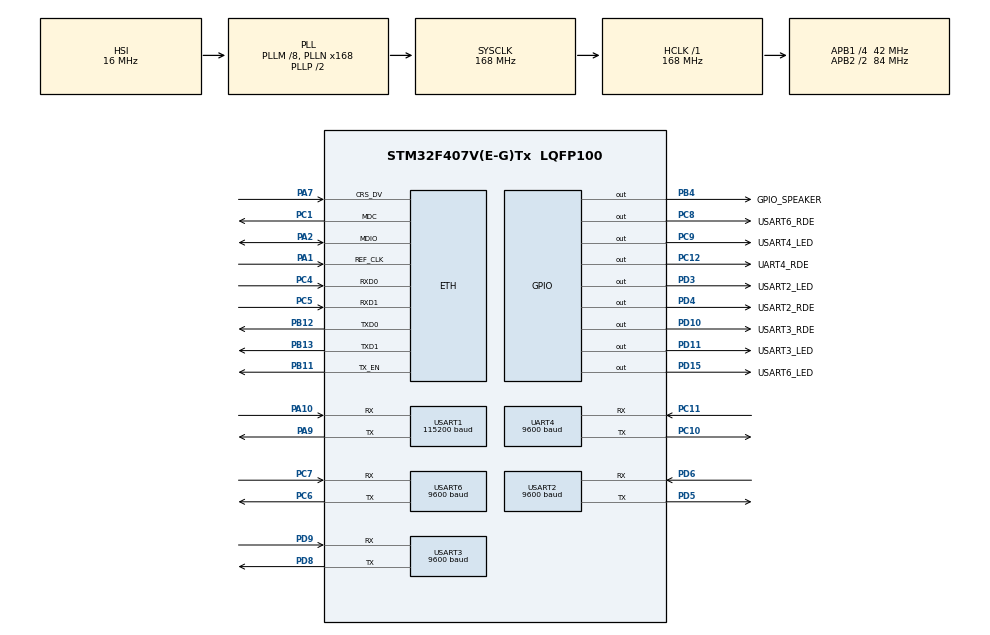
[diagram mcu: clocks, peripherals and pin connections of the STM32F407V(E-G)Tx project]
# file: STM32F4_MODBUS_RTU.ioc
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ETH.ChecksumMode=ETH_CHECKSUM_BY_HARDWARE
ETH.MACAddr=00\:80\:E1\:00\:00\:00
ETH.MediaInterface=ETH_MEDIA_INTERFACE_RMII
ETH.PHY_Name_RMII=userPHY
FREERTOS.Tasks01=defaultTask,0,128,StartDefaultTask,Default,NULL,Dynamic,NULL,NULL;appMdTask,0,128,StartMdTask,Default,NULL,Dynamic,NULL,NULL;appNetworkTask,-3,128,StartTask03,Default,NULL,Dynamic,NULL,NULL
FREERTOS.Timers01=myTimer01,Callback01,osTimerPeriodic,Default,NULL,Dynamic,NULL
FREERTOS.configCHECK_FOR_STACK_OVERFLOW=0
FREERTOS.configMAX_PRIORITIES=7
FREERTOS.configUSE_IDLE_HOOK=0
FREERTOS.configUSE_MALLOC_FAILED_HOOK=0
FREERTOS.configUSE_TICK_HOOK=0
FREERTOS.configUSE_TIMERS=1
LWIP.GATEWAY_ADDRESS=192.168.001.001
LWIP.IP_ADDRESS=192.168.001.020
LWIP.LWIP_DHCP=0
LWIP.NETMASK_ADDRESS=255.255.255.000
LWIP.Version=v2.0.3_Cube
Mcu.Family=STM32F4
Mcu.Name=STM32F407V(E-G)Tx
Mcu.Package=LQFP100
Mcu.UserConstants=userPHY,0x01
NVIC.ETH_IRQn=true\:5\:0\:false\:false\:true\:true\:false\:true
NVIC.PriorityGroup=NVIC_PRIORITYGROUP_4
NVIC.TIM1_UP_TIM10_IRQn=true\:0\:0\:false\:false\:true\:false\:false\:true
NVIC.TIM7_IRQn=true\:5\:0\:true\:false\:true\:true\:true\:true
NVIC.TimeBase=TIM1_UP_TIM10_IRQn
NVIC.TimeBaseIP=TIM1
NVIC.UART4_IRQn=true\:5\:0\:false\:false\:true\:true\:true\:true
NVIC.USART2_IRQn=true\:5\:0\:false\:false\:true\:true\:true\:true
NVIC.USART3_IRQn=true\:5\:0\:false\:false\:true\:true\:true\:true
NVIC.USART6_IRQn=true\:5\:0\:true\:false\:true\:true\:true\:true
PA1.Mode=RMII
PA1.Signal=ETH_REF_CLK
PA10.Mode=Asynchronous
PA10.Signal=USART1_RX
PA13.GPIO_Label=SWDIO
PA13.Mode=Serial_Wire
PA13.Signal=SYS_JTMS-SWDIO
PA14.GPIO_Label=SWCLK
PA14.Mode=Serial_Wire
PA14.Signal=SYS_JTCK-SWCLK
PA2.Mode=RMII
PA2.Signal=ETH_MDIO
PA7.Mode=RMII
PA7.Signal=ETH_CRS_DV
PA9.Mode=Asynchronous
PA9.Signal=USART1_TX
PB11.Mode=RMII
PB11.Signal=ETH_TX_EN
PB12.Mode=RMII
PB12.Signal=ETH_TXD0
PB13.Mode=RMII
PB13.Signal=ETH_TXD1
PB3.GPIO_Label=SWO
PB3.Signal=SYS_JTDO-SWO
PB4.GPIO_Label=GPIO_SPEAKER
PB4.Signal=GPIO_Output
PC1.Mode=RMII
PC1.Signal=ETH_MDC
PC10.Mode=Asynchronous
PC10.Signal=UART4_TX
PC11.Mode=Asynchronous
PC11.Signal=UART4_RX
PC12.GPIO_Label=UART4_RDE
PC12.Signal=GPIO_Output
PC14-OSC32_IN.GPIO_Label=PC14-OSC32_IN
PC14-OSC32_IN.Signal=RCC_OSC32_IN
PC15-OSC32_OUT.GPIO_Label=PC15-OSC32_OUT
PC15-OSC32_OUT.Signal=RCC_OSC32_OUT
PC4.Mode=RMII
PC4.Signal=ETH_RXD0
PC5.Mode=RMII
PC5.Signal=ETH_RXD1
PC6.Mode=Asynchronous
PC6.Signal=USART6_TX
PC7.Mode=Asynchronous
PC7.Signal=USART6_RX
PC8.GPIO_Label=USART6_RDE
PC8.Signal=GPIO_Output
PC9.GPIO_Label=USART4_LED
PC9.Signal=GPIO_Output
PD10.GPIO_Label=USART3_RDE
PD10.Signal=GPIO_Output
PD11.GPIO_Label=USART3_LED
PD11.Signal=GPIO_Output
PD15.GPIO_Label=USART6_LED
PD15.Signal=GPIO_Output
PD3.GPIO_Label=USART2_LED
PD3.Signal=GPIO_Output
PD4.GPIO_Label=USART2_RDE
PD4.Signal=GPIO_Output
PD5.Mode=Asynchronous
PD5.Signal=USART2_TX
PD6.Mode=Asynchronous
PD6.Signal=USART2_RX
PD8.Mode=Asynchronous
PD8.Signal=USART3_TX
PD9.Mode=Asynchronous
PD9.Signal=USART3_RX
PH0-OSC_IN.GPIO_Label=PH0-OSC_IN
PH0-OSC_IN.Mode=HSE-External-Oscillator
PH0-OSC_IN.Signal=RCC_OSC_IN
PH1-OSC_OUT.GPIO_Label=PH1-OSC_OUT
PH1-OSC_OUT.Mode=HSE-External-Oscillator
PH1-OSC_OUT.Signal=RCC_OSC_OUT
ProjectManager.HeapSize=0x200
ProjectManager.StackSize=0x400
ProjectManager.TargetToolchain=MDK-ARM V5
RCC.48MHZClocksFreq_Value=48000000
RCC.AHBFreq_Value=168000000
RCC.APB1CLKDivider=RCC_HCLK_DIV4
RCC.APB1Freq_Value=42000000
RCC.APB1TimFreq_Value=84000000
RCC.APB2CLKDivider=RCC_HCLK_DIV2
RCC.APB2Freq_Value=84000000
RCC.APB2TimFreq_Value=168000000
RCC.CortexFreq_Value=168000000
RCC.HCLKFreq_Value=168000000
RCC.HSE_VALUE=12000000
RCC.HSI_VALUE=16000000
RCC.LSE_VALUE=32768
RCC.PLLM=8
RCC.PLLN=168
RCC.PLLQ=7
RCC.SYSCLKFreq_VALUE=168000000
RCC.SYSCLKSource=RCC_SYSCLKSOURCE_PLLCLK
RCC.VCOOutputFreq_Value=336000000
TIM7.TIM_MasterOutputTrigger=TIM_TRGO_UPDATE
UART4.BaudRate=9600
UART4.VirtualMode=Asynchronous
USART1.BaudRate=115200
USART1.VirtualMode=VM_ASYNC
USART2.BaudRate=9600
USART2.VirtualMode=VM_ASYNC
USART3.BaudRate=9600
USART3.VirtualMode=VM_ASYNC
USART6.BaudRate=9600
USART6.VirtualMode=VM_ASYNC
VP_FREERTOS_VS_CMSIS_V1.Mode=CMSIS_V1
VP_LWIP_VS_Enabled.Mode=Enabled
VP_SYS_VS_tim1.Mode=TIM1
VP_TIM7_VS_ClockSourceINT.Mode=Enable_Timer
board=STM32F4DISCOVERY

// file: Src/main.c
/* USER CODE BEGIN Header */
/**
  ******************************************************************************
  * @file           : main.c
  * @brief          : Main program body
  ******************************************************************************
  * @attention
  *
  * <h2><center>&copy; Copyright (c) 2020 STMicroelectronics.
  * All rights reserved.</center></h2>
  *
  * This software component is licensed by ST under Ultimate Liberty license
  * SLA0044, the "License"; You may not use this file except in compliance with
  * the License. You may obtain a copy of the License at:
  *                             www.st.com/SLA0044
  *
  ******************************************************************************
  */
/* USER CODE END Header */

#include "main.h"
#include "cmsis_os.h"
#include "lwip.h"

/* USER CODE BEGIN Includes */
#include <stdint.h>
#include <stdio.h>
#include <string.h>
//#include "..\Middlewares\Third_Party\modbus\include\mb_m.h"
#include "mb_m.h"
#include "mbport.h"

/* USER CODE END Includes */

TIM_HandleTypeDef htim7;

UART_HandleTypeDef huart4;
UART_HandleTypeDef huart1;
UART_HandleTypeDef huart2;
UART_HandleTypeDef huart3;
UART_HandleTypeDef huart6;

osThreadId defaultTaskHandle;
osThreadId appMdTaskHandle;
osThreadId appNetworkTaskHandle;
osTimerId myTimer01Handle;
/* USER CODE BEGIN PV */
/* Private variables ---------------------------------------------------------*/

/* USER CODE END PV */

void SystemClock_Config(void);
static void MX_GPIO_Init(void);
static void MX_USART2_UART_Init(void);
static void MX_TIM7_Init(void);
static void MX_USART1_UART_Init(void);
static void MX_USART3_UART_Init(void);
static void MX_UART4_Init(void);
static void MX_USART6_UART_Init(void);
void StartDefaultTask(void const * argument);
void StartMdTask(void const * argument);
void StartTask03(void const * argument);
void Callback01(void const * argument);

/* USER CODE BEGIN PFP */
/* Private function prototypes -----------------------------------------------*/
extern void ModbusRTUTask(void const * argument);
extern void ModbusTestTask(void const * argument);
extern	void http_server_netconn_init();
/* USER CODE END PFP */

int main(void)
{

  /* MCU Configuration--------------------------------------------------------*/

  /* Reset of all peripherals, Initializes the Flash interface and the Systick. */
  HAL_Init();

  /* Configure the system clock */
  SystemClock_Config();

  /* Initialize all configured peripherals */
  MX_GPIO_Init();
  MX_USART2_UART_Init();
  MX_TIM7_Init();
  MX_USART1_UART_Init();
  MX_USART3_UART_Init();
  MX_UART4_Init();
  MX_USART6_UART_Init();
  /* USER CODE BEGIN 2 */
	for(int i =0; i <2; i++)
	{
	HAL_GPIO_TogglePin(GPIO_SPEAKER_GPIO_Port,GPIO_SPEAKER_Pin);
	HAL_Delay(10);
	}
		printf("\r\n System  starting \r\n");

  /* USER CODE END 2 */

  /* Create the timer(s) */
  /* definition and creation of myTimer01 */
  osTimerDef(myTimer01, Callback01);
  myTimer01Handle = osTimerCreate(osTimer(myTimer01), osTimerPeriodic, NULL);

  /* Create the thread(s) */
  /* definition and creation of defaultTask */
  osThreadDef(defaultTask, StartDefaultTask, osPriorityNormal, 0, 128);
  defaultTaskHandle = osThreadCreate(osThread(defaultTask), NULL);

  /* definition and creation of appMdTask */
  osThreadDef(appMdTask, StartMdTask, osPriorityNormal, 0, 128);
  appMdTaskHandle = osThreadCreate(osThread(appMdTask), NULL);

  /* definition and creation of appNetworkTask */
  osThreadDef(appNetworkTask, StartTask03, osPriorityIdle, 0, 128);
  appNetworkTaskHandle = osThreadCreate(osThread(appNetworkTask), NULL);

  /* Start scheduler */
  osKernelStart();

  /* We should never get here as control is now taken by the scheduler */

  /* Infinite loop */
  while (1)
  {

  }
}

void SystemClock_Config(void)
{
  RCC_OscInitTypeDef RCC_OscInitStruct = {0};
  RCC_ClkInitTypeDef RCC_ClkInitStruct = {0};

  /** Configure the main internal regulator output voltage
  */
  __HAL_RCC_PWR_CLK_ENABLE();
  __HAL_PWR_VOLTAGESCALING_CONFIG(PWR_REGULATOR_VOLTAGE_SCALE1);
  /** Initializes the CPU, AHB and APB busses clocks
  */
  RCC_OscInitStruct.OscillatorType = RCC_OSCILLATORTYPE_HSI;
  RCC_OscInitStruct.HSIState = RCC_HSI_ON;
  RCC_OscInitStruct.HSICalibrationValue = RCC_HSICALIBRATION_DEFAULT;
  RCC_OscInitStruct.PLL.PLLState = RCC_PLL_ON;
  RCC_OscInitStruct.PLL.PLLSource = RCC_PLLSOURCE_HSI;
  RCC_OscInitStruct.PLL.PLLM = 8;
  RCC_OscInitStruct.PLL.PLLN = 168;
  RCC_OscInitStruct.PLL.PLLP = RCC_PLLP_DIV2;
  RCC_OscInitStruct.PLL.PLLQ = 7;
  if (HAL_RCC_OscConfig(&RCC_OscInitStruct) != HAL_OK)
  {
    Error_Handler();
  }
  /** Initializes the CPU, AHB and APB busses clocks
  */
  RCC_ClkInitStruct.ClockType = RCC_CLOCKTYPE_HCLK|RCC_CLOCKTYPE_SYSCLK
                              |RCC_CLOCKTYPE_PCLK1|RCC_CLOCKTYPE_PCLK2;
  RCC_ClkInitStruct.SYSCLKSource = RCC_SYSCLKSOURCE_PLLCLK;
  RCC_ClkInitStruct.AHBCLKDivider = RCC_SYSCLK_DIV1;
  RCC_ClkInitStruct.APB1CLKDivider = RCC_HCLK_DIV4;
  RCC_ClkInitStruct.APB2CLKDivider = RCC_HCLK_DIV2;

  if (HAL_RCC_ClockConfig(&RCC_ClkInitStruct, FLASH_LATENCY_5) != HAL_OK)
  {
    Error_Handler();
  }
}

static void MX_TIM7_Init(void)
{

  TIM_MasterConfigTypeDef sMasterConfig = {0};

  htim7.Instance = TIM7;
  htim7.Init.Prescaler = 0;
  htim7.Init.CounterMode = TIM_COUNTERMODE_UP;
  htim7.Init.Period = 0;
  htim7.Init.AutoReloadPreload = TIM_AUTORELOAD_PRELOAD_DISABLE;
  if (HAL_TIM_Base_Init(&htim7) != HAL_OK)
  {
    Error_Handler();
  }
  sMasterConfig.MasterOutputTrigger = TIM_TRGO_UPDATE;
  sMasterConfig.MasterSlaveMode = TIM_MASTERSLAVEMODE_DISABLE;
  if (HAL_TIMEx_MasterConfigSynchronization(&htim7, &sMasterConfig) != HAL_OK)
  {
    Error_Handler();
  }

}

static void MX_UART4_Init(void)
{

  huart4.Instance = UART4;
  huart4.Init.BaudRate = 9600;
  huart4.Init.WordLength = UART_WORDLENGTH_8B;
  huart4.Init.StopBits = UART_STOPBITS_1;
  huart4.Init.Parity = UART_PARITY_NONE;
  huart4.Init.Mode = UART_MODE_TX_RX;
  huart4.Init.HwFlowCtl = UART_HWCONTROL_NONE;
  huart4.Init.OverSampling = UART_OVERSAMPLING_16;
  if (HAL_UART_Init(&huart4) != HAL_OK)
  {
    Error_Handler();
  }

}

static void MX_USART1_UART_Init(void)
{

  huart1.Instance = USART1;
  huart1.Init.BaudRate = 115200;
  huart1.Init.WordLength = UART_WORDLENGTH_8B;
  huart1.Init.StopBits = UART_STOPBITS_1;
  huart1.Init.Parity = UART_PARITY_NONE;
  huart1.Init.Mode = UART_MODE_TX_RX;
  huart1.Init.HwFlowCtl = UART_HWCONTROL_NONE;
  huart1.Init.OverSampling = UART_OVERSAMPLING_16;
  if (HAL_UART_Init(&huart1) != HAL_OK)
  {
    Error_Handler();
  }

}

static void MX_USART2_UART_Init(void)
{

  huart2.Instance = USART2;
  huart2.Init.BaudRate = 9600;
  huart2.Init.WordLength = UART_WORDLENGTH_8B;
  huart2.Init.StopBits = UART_STOPBITS_1;
  huart2.Init.Parity = UART_PARITY_NONE;
  huart2.Init.Mode = UART_MODE_TX_RX;
  huart2.Init.HwFlowCtl = UART_HWCONTROL_NONE;
  huart2.Init.OverSampling = UART_OVERSAMPLING_16;
  if (HAL_UART_Init(&huart2) != HAL_OK)
  {
    Error_Handler();
  }

}

static void MX_USART3_UART_Init(void)
{

  huart3.Instance = USART3;
  huart3.Init.BaudRate = 9600;
  huart3.Init.WordLength = UART_WORDLENGTH_8B;
  huart3.Init.StopBits = UART_STOPBITS_1;
  huart3.Init.Parity = UART_PARITY_NONE;
  huart3.Init.Mode = UART_MODE_TX_RX;
  huart3.Init.HwFlowCtl = UART_HWCONTROL_NONE;
  huart3.Init.OverSampling = UART_OVERSAMPLING_16;
  if (HAL_UART_Init(&huart3) != HAL_OK)
  {
    Error_Handler();
  }

}

static void MX_USART6_UART_Init(void)
{

  huart6.Instance = USART6;
  huart6.Init.BaudRate = 9600;
  huart6.Init.WordLength = UART_WORDLENGTH_8B;
  huart6.Init.StopBits = UART_STOPBITS_1;
  huart6.Init.Parity = UART_PARITY_NONE;
  huart6.Init.Mode = UART_MODE_TX_RX;
  huart6.Init.HwFlowCtl = UART_HWCONTROL_NONE;
  huart6.Init.OverSampling = UART_OVERSAMPLING_16;
  if (HAL_UART_Init(&huart6) != HAL_OK)
  {
    Error_Handler();
  }

}

static void MX_GPIO_Init(void)
{
  GPIO_InitTypeDef GPIO_InitStruct = {0};

  /* GPIO Ports Clock Enable */
  __HAL_RCC_GPIOC_CLK_ENABLE();
  __HAL_RCC_GPIOH_CLK_ENABLE();
  __HAL_RCC_GPIOA_CLK_ENABLE();
  __HAL_RCC_GPIOB_CLK_ENABLE();
  __HAL_RCC_GPIOD_CLK_ENABLE();

  /*Configure GPIO pin Output Level */
  HAL_GPIO_WritePin(GPIOD, USART3_RDE_Pin|USART3_LED_Pin|USART6_LED_Pin|USART2_LED_Pin
                          |USART2_RDE_Pin, GPIO_PIN_RESET);

  /*Configure GPIO pin Output Level */
  HAL_GPIO_WritePin(GPIOC, USART6_RDE_Pin|USART4_LED_Pin|UART4_RDE_Pin, GPIO_PIN_RESET);

  /*Configure GPIO pin Output Level */
  HAL_GPIO_WritePin(GPIO_SPEAKER_GPIO_Port, GPIO_SPEAKER_Pin, GPIO_PIN_RESET);

  /*Configure GPIO pins : USART3_RDE_Pin USART3_LED_Pin USART6_LED_Pin USART2_LED_Pin
                           USART2_RDE_Pin */
  GPIO_InitStruct.Pin = USART3_RDE_Pin|USART3_LED_Pin|USART6_LED_Pin|USART2_LED_Pin
                          |USART2_RDE_Pin;
  GPIO_InitStruct.Mode = GPIO_MODE_OUTPUT_PP;
  GPIO_InitStruct.Pull = GPIO_NOPULL;
  GPIO_InitStruct.Speed = GPIO_SPEED_FREQ_LOW;
  HAL_GPIO_Init(GPIOD, &GPIO_InitStruct);

  /*Configure GPIO pins : USART6_RDE_Pin USART4_LED_Pin UART4_RDE_Pin */
  GPIO_InitStruct.Pin = USART6_RDE_Pin|USART4_LED_Pin|UART4_RDE_Pin;
  GPIO_InitStruct.Mode = GPIO_MODE_OUTPUT_PP;
  GPIO_InitStruct.Pull = GPIO_NOPULL;
  GPIO_InitStruct.Speed = GPIO_SPEED_FREQ_LOW;
  HAL_GPIO_Init(GPIOC, &GPIO_InitStruct);

  /*Configure GPIO pin : GPIO_SPEAKER_Pin */
  GPIO_InitStruct.Pin = GPIO_SPEAKER_Pin;
  GPIO_InitStruct.Mode = GPIO_MODE_OUTPUT_PP;
  GPIO_InitStruct.Pull = GPIO_NOPULL;
  GPIO_InitStruct.Speed = GPIO_SPEED_FREQ_LOW;
  HAL_GPIO_Init(GPIO_SPEAKER_GPIO_Port, &GPIO_InitStruct);

}

/* USER CODE BEGIN 4 */

/**
  * @brief  Retargets the C library printf function to the USART.
  * @param  None
  * @retval None
  */
PUTCHAR_PROTOTYPE
{
  /* Place your implementation of fputc here */
  /* e.g. write a character to the USART */
//  USART_SendData(EVAL_COM1, (uint8_t) ch);
	HAL_UART_Transmit(&huart1, (uint8_t *)&ch, 1, 0xFFFF);

  /* Loop until the end of transmission */
//  while (USART_GetFlagStatus(EVAL_COM1, USART_FLAG_TC) == RESET)
//  {}

  return ch;
}
/* USER CODE END 4 */

void StartDefaultTask(void const * argument)
{

  /* init code for LWIP */
  MX_LWIP_Init();

  /* USER CODE BEGIN 5 */
	osThreadDef(ModbusRTUTask, ModbusRTUTask, osPriorityNormal, 0,4*configMINIMAL_STACK_SIZE);
  osThreadCreate(osThread(ModbusRTUTask), NULL);

  /* Infinite loop */
  for(;;)
  {
    osDelay(1);
  }
  /* USER CODE END 5 */
}

void StartMdTask(void const * argument)
{
  /* USER CODE BEGIN StartMdTask */
		osThreadDef(ModbusTestTask, ModbusTestTask, osPriorityNormal, 0, 2*configMINIMAL_STACK_SIZE);
		osThreadCreate(osThread(ModbusTestTask), NULL);
  /* Infinite loop */
  for(;;)
  {
    osDelay(1);
  }
  /* USER CODE END StartMdTask */
}

void StartTask03(void const * argument)
{
  for(;;)
  {
    osDelay(1);
  }
}

/* Callback01 function */
void Callback01(void const * argument)
{
  /* USER CODE BEGIN Callback01 */

      prvvMasterTIMERExpiredISR();
  /* USER CODE END Callback01 */
}

void HAL_TIM_PeriodElapsedCallback(TIM_HandleTypeDef *htim)
{
  if (htim->Instance == TIM1) {
    HAL_IncTick();
  }
}

void Error_Handler(void)
{
}

/************************ (C) COPYRIGHT STMicroelectronics *****END OF FILE****/
